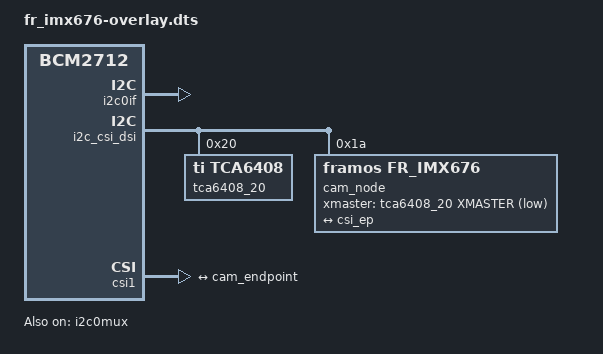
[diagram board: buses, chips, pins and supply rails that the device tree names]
// SPDX-License-Identifier: GPL-2.0-only
// Definitions for IMX676 camera module on VC I2C bus
/dts-v1/;
/plugin/;

/* TCA6408 Pxx bus-port define*/
#define PW_EN		0
#define CRESETB		1
#define XMASTER		3

/{
	compatible = "brcm,bcm2712";

	fragment@0 {
		target = <&i2c0if>;
		__overlay__ {
			status = "okay";
		};
	};

	fragment@1 {
		target = <&i2c0mux>;
		__overlay__ {
			status = "okay";
		};
	};

	fragment@2 {
		target = <&cam0_reg>;
		__dormant__ {
			status = "disabled";
		};
	};

	fragment@3 {
		target = <&cam1_reg>;
		__dormant__ {
			status = "disabled";
		};
	};

	i2c_frag: fragment@4 {
		target = <&i2c_csi_dsi>;
		__overlay__ {
			#address-cells = <1>;
			#size-cells = <0>;
			status = "okay";

			tca6408_20: tca6408@20 {
				compatible = "ti,tca6408";
				gpio-controller;
				#gpio-cells = <2>;
				reg = <0x20>;
				status = "okay";
			};

			cam_node: imx676@1a {
				compatible = "framos,fr_imx676";
				reg = <0x1a>;
				status = "okay";

				rotation = <0>;
				orientation = <0>;

				xmaster-gpio = <&tca6408_20 XMASTER 1>;

				port {
					cam_endpoint: endpoint {
						remote-endpoint = <&csi_ep>;
						clock-lanes = <0>;
						data-lanes = <1 2 3 4>;
						clock-noncontinuous;
						link-frequencies =
							/bits/ 64 <750000000 720000000 445500000 360000000 297000000>;
					};
				};
			};
		};
	};

	csi_frag: fragment@5 {
		target = <&csi1>;
		csi: __overlay__ {
			status = "okay";
			brcm,media-controller;

			port {
				csi_ep: endpoint {
					remote-endpoint = <&cam_endpoint>;
					clock-lanes = <0>;
					data-lanes = <1 2 3 4>;
					clock-noncontinuous;
				};
			};
		};
	};

	reset_cam_1_frag: fragment@6 {
		target = <&cam_node>;
		__dormant__ {
			reset-gpios = <&rp1_gpio 46 0>;
		};
	};

	reset_cam_0_frag: fragment@7 {
		target = <&cam_node>;
		__dormant__ {
			reset-gpios = <&rp1_gpio 34 0>;
		};
	};

	gmsl_frag: fragment@8 {
		target = <&i2c_csi_dsi>;
		__dormant__ {
			framos_dser_a: max96792_a@6a {
					compatible = "framos,fr_max96792";
					reg = <0x6a>;
					csi-mode = "2x4";
					max-src = <1>;
			};
			framos_ser_prim_a: max96793_prim_a@42 { /* i2c serializer physical address */
					compatible = "framos,fr_max96793";
					reg = <0x42>;
					gmsl-dser-device = <&framos_dser_a>;
					is-prim-ser;
			};
		};
	};

	gmsl_cam_frag: fragment@9 {
		target = <&cam_node>;
		__dormant__ {
			def-addr = <0x1a>;
			gmsl = "gmsl";
			gmsl-ser-device = <&framos_ser_prim_a>;
			gmsl-dser-device = <&framos_dser_a>;
			
			gmsl-link {
				src-csi-port = "b";
				dst-csi-port = "a";
				serdes-csi-link = "a";
				csi-mode = "1x4";
				st-vc = <0>;
				vc-id = <0>;
				num-lanes = <4>;
				streams = "raw12";
			};
		};
	};

	__overrides__ {
		rotation = <&cam_node>,"rotation:0";
		orientation = <&cam_node>,"orientation:0";
		media-controller = <&csi>,"brcm,media-controller?";
		
		cam1-gmsl =	<0>, "+8+9",
				<&reset_cam_1_frag>, "target:0=",<&framos_dser_a>,
				<0>, "+3+6";
		
		cam0-gmsl =	<0>, "+8+9",
				<&reset_cam_0_frag>, "target:0=",<&framos_dser_a>,
				<&gmsl_frag>, "target:0=",<&i2c_csi_dsi0>,
				<&i2c_frag>, "target:0=",<&i2c_csi_dsi0>,
				<&csi_frag>, "target:0=",<&csi0>,
				<0>, "+2+7";
		
		cam1 =	<0>, "+3+6";
		
		cam0 =	<&i2c_frag>, "target:0=",<&i2c_csi_dsi0>,
			<&csi_frag>, "target:0=",<&csi0>,
			<0>, "+2+7";
	};
};
